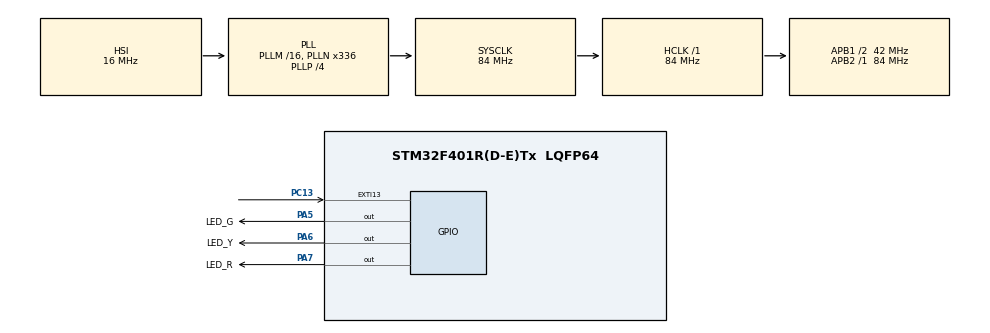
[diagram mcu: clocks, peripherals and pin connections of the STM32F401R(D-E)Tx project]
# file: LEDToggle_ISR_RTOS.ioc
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Mcu.Family=STM32F4
Mcu.Name=STM32F401R(D-E)Tx
Mcu.Package=LQFP64
NVIC.EXTI15_10_IRQn=true\:6\:0\:true\:false\:true\:true\:true\:true
NVIC.PriorityGroup=NVIC_PRIORITYGROUP_4
NVIC.TIM5_IRQn=true\:15\:0\:false\:false\:true\:false\:true\:true
NVIC.TimeBase=TIM5_IRQn
NVIC.TimeBaseIP=TIM5
PA13.GPIO_Label=TMS
PA13.Signal=SYS_JTMS-SWDIO
PA14.GPIO_Label=TCK
PA14.Signal=SYS_JTCK-SWCLK
PA2.GPIO_Label=USART_TX
PA2.GPIO_Mode=GPIO_MODE_AF_PP
PA2.GPIO_PuPd=GPIO_NOPULL
PA2.GPIO_Speed=GPIO_SPEED_FREQ_LOW
PA2.Signal=USART2_TX
PA3.GPIO_Label=USART_RX
PA3.GPIO_Mode=GPIO_MODE_AF_PP
PA3.GPIO_PuPd=GPIO_NOPULL
PA3.GPIO_Speed=GPIO_SPEED_FREQ_LOW
PA3.Signal=USART2_RX
PA5.GPIO_Label=LED_G
PA5.Signal=GPIO_Output
PA6.GPIO_Label=LED_Y
PA6.Signal=GPIO_Output
PA7.GPIO_Label=LED_R
PA7.Signal=GPIO_Output
PB3.GPIO_Label=SWO
PB3.Signal=SYS_JTDO-SWO
PC13-ANTI_TAMP.GPIO_ModeDefaultEXTI=GPIO_MODE_IT_FALLING
PC13-ANTI_TAMP.Signal=GPXTI13
PC14-OSC32_IN.Signal=RCC_OSC32_IN
PC15-OSC32_OUT.Signal=RCC_OSC32_OUT
PH0\ -\ OSC_IN.Signal=RCC_OSC_IN
PH1\ -\ OSC_OUT.Signal=RCC_OSC_OUT
ProjectManager.HeapSize=0x200
ProjectManager.StackSize=0x400
ProjectManager.TargetToolchain=STM32CubeIDE
RCC.AHBFreq_Value=84000000
RCC.APB1CLKDivider=RCC_HCLK_DIV2
RCC.APB1Freq_Value=42000000
RCC.APB1TimFreq_Value=84000000
RCC.APB2Freq_Value=84000000
RCC.APB2TimFreq_Value=84000000
RCC.CortexFreq_Value=84000000
RCC.HCLKFreq_Value=84000000
RCC.HSE_VALUE=8000000
RCC.HSI_VALUE=16000000
RCC.LSE_VALUE=32768
RCC.PLLN=336
RCC.PLLP=RCC_PLLP_DIV4
RCC.PLLQ=7
RCC.SYSCLKFreq_VALUE=84000000
RCC.SYSCLKSource=RCC_SYSCLKSOURCE_PLLCLK
RCC.VCOOutputFreq_Value=336000000
VP_SYS_VS_tim5.Mode=TIM5
board=NUCLEO-F401RE

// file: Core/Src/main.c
/* USER CODE BEGIN Header */
/**
  ******************************************************************************
  * @file           : main.c
  * @brief          : Main program body
  ******************************************************************************
  * @attention
  *
  * Copyright (c) 2024 STMicroelectronics.
  * All rights reserved.
  *
  * This software is licensed under terms that can be found in the LICENSE file
  * in the root directory of this software component.
  * If no LICENSE file comes with this software, it is provided AS-IS.
  *
  ******************************************************************************
  */
/* USER CODE END Header */
#include "main.h"

/* USER CODE BEGIN Includes */
#include "FreeRTOS.h"
#include "task.h"

/* USER CODE END Includes */

void SystemClock_Config(void);
static void MX_GPIO_Init(void);
/* USER CODE BEGIN PFP */
static void led_green_handler(void *parameters);
static void led_yellow_handler(void *parameters);
static void led_red_handler(void *parameters);
void button_interrupt_handler(void *parameters);

/* USER CODE END PFP */

/* USER CODE BEGIN 0 */
TaskHandle_t led_green_handle,led_yellow_handle,led_red_handle;
TaskHandle_t volatile next_task_handle;

/* USER CODE END 0 */

int main(void)
{
  /* USER CODE BEGIN 1 */

	next_task_handle = NULL;
	BaseType_t ret;

  /* USER CODE END 1 */

  /* MCU Configuration--------------------------------------------------------*/

  /* Reset of all peripherals, Initializes the Flash interface and the Systick. */
  HAL_Init();

  /* Configure the system clock */
  SystemClock_Config();

  /* Initialize all configured peripherals */
  MX_GPIO_Init();
  /* USER CODE BEGIN 2 */
  ret = xTaskCreate(led_green_handler,"Blink_LED_green_Task",200,NULL,3, &led_green_handle);
  configASSERT(ret==pdPASS);
  next_task_handle = led_green_handle;

  ret = xTaskCreate(led_yellow_handler,"Blink_LED_yellow_Task",200,NULL,2, &led_yellow_handle);
  configASSERT(ret==pdPASS);

  ret = xTaskCreate(led_red_handler,"Blink_LED_red_Task",200,NULL,1, &led_red_handle);
  configASSERT(ret==pdPASS);

  vTaskStartScheduler();

  /* USER CODE END 2 */

  /* Infinite loop */
  while (1)
  {

  }
}

void SystemClock_Config(void)
{
  RCC_OscInitTypeDef RCC_OscInitStruct = {0};
  RCC_ClkInitTypeDef RCC_ClkInitStruct = {0};

  /** Configure the main internal regulator output voltage
  */
  __HAL_RCC_PWR_CLK_ENABLE();
  __HAL_PWR_VOLTAGESCALING_CONFIG(PWR_REGULATOR_VOLTAGE_SCALE2);

  /** Initializes the RCC Oscillators according to the specified parameters
  * in the RCC_OscInitTypeDef structure.
  */
  RCC_OscInitStruct.OscillatorType = RCC_OSCILLATORTYPE_HSI;
  RCC_OscInitStruct.HSIState = RCC_HSI_ON;
  RCC_OscInitStruct.HSICalibrationValue = RCC_HSICALIBRATION_DEFAULT;
  RCC_OscInitStruct.PLL.PLLState = RCC_PLL_ON;
  RCC_OscInitStruct.PLL.PLLSource = RCC_PLLSOURCE_HSI;
  RCC_OscInitStruct.PLL.PLLM = 16;
  RCC_OscInitStruct.PLL.PLLN = 336;
  RCC_OscInitStruct.PLL.PLLP = RCC_PLLP_DIV4;
  RCC_OscInitStruct.PLL.PLLQ = 7;
  if (HAL_RCC_OscConfig(&RCC_OscInitStruct) != HAL_OK)
  {
    Error_Handler();
  }

  /** Initializes the CPU, AHB and APB buses clocks
  */
  RCC_ClkInitStruct.ClockType = RCC_CLOCKTYPE_HCLK|RCC_CLOCKTYPE_SYSCLK
                              |RCC_CLOCKTYPE_PCLK1|RCC_CLOCKTYPE_PCLK2;
  RCC_ClkInitStruct.SYSCLKSource = RCC_SYSCLKSOURCE_PLLCLK;
  RCC_ClkInitStruct.AHBCLKDivider = RCC_SYSCLK_DIV1;
  RCC_ClkInitStruct.APB1CLKDivider = RCC_HCLK_DIV2;
  RCC_ClkInitStruct.APB2CLKDivider = RCC_HCLK_DIV1;

  if (HAL_RCC_ClockConfig(&RCC_ClkInitStruct, FLASH_LATENCY_2) != HAL_OK)
  {
    Error_Handler();
  }
}

static void MX_GPIO_Init(void)
{
  GPIO_InitTypeDef GPIO_InitStruct = {0};

  /* GPIO Ports Clock Enable */
  __HAL_RCC_GPIOC_CLK_ENABLE();
  __HAL_RCC_GPIOH_CLK_ENABLE();
  __HAL_RCC_GPIOA_CLK_ENABLE();
  __HAL_RCC_GPIOB_CLK_ENABLE();

  /*Configure GPIO pin Output Level */
  HAL_GPIO_WritePin(GPIOA, LED_G_Pin|LED_Y_Pin|LED_R_Pin, GPIO_PIN_RESET);

  /*Configure GPIO pin : PC13 */
  GPIO_InitStruct.Pin = GPIO_PIN_13;
  GPIO_InitStruct.Mode = GPIO_MODE_IT_FALLING;
  GPIO_InitStruct.Pull = GPIO_NOPULL;
  HAL_GPIO_Init(GPIOC, &GPIO_InitStruct);

  /*Configure GPIO pins : USART_TX_Pin USART_RX_Pin */
  GPIO_InitStruct.Pin = USART_TX_Pin|USART_RX_Pin;
  GPIO_InitStruct.Mode = GPIO_MODE_AF_PP;
  GPIO_InitStruct.Pull = GPIO_NOPULL;
  GPIO_InitStruct.Speed = GPIO_SPEED_FREQ_LOW;
  GPIO_InitStruct.Alternate = GPIO_AF7_USART2;
  HAL_GPIO_Init(GPIOA, &GPIO_InitStruct);

  /*Configure GPIO pins : LED_G_Pin LED_Y_Pin LED_R_Pin */
  GPIO_InitStruct.Pin = LED_G_Pin|LED_Y_Pin|LED_R_Pin;
  GPIO_InitStruct.Mode = GPIO_MODE_OUTPUT_PP;
  GPIO_InitStruct.Pull = GPIO_NOPULL;
  GPIO_InitStruct.Speed = GPIO_SPEED_FREQ_LOW;
  HAL_GPIO_Init(GPIOA, &GPIO_InitStruct);

  /* EXTI interrupt init*/
  HAL_NVIC_SetPriority(EXTI15_10_IRQn, 6, 0);
  HAL_NVIC_EnableIRQ(EXTI15_10_IRQn);

}

/* USER CODE BEGIN 4 */
static void led_green_handler(void *parameters){
	BaseType_t notificationStatus;

	while (1){
		HAL_GPIO_TogglePin(GPIOA,LED_G_Pin);
		//HAL_Delay(1000);
		notificationStatus = xTaskNotifyWait(0,0,NULL,pdMS_TO_TICKS(1000));
		if(notificationStatus==pdPASS){
			portENTER_CRITICAL();
			next_task_handle = led_yellow_handle;
			HAL_GPIO_WritePin(GPIOA,LED_G_Pin,GPIO_PIN_SET);
			portEXIT_CRITICAL();
			vTaskDelete(NULL);
		}

	}
}

static void led_yellow_handler(void *parameters){
	BaseType_t notificationStatus;
		while (1){
			HAL_GPIO_TogglePin(GPIOA,LED_Y_Pin);
			//HAL_Delay(1000);
			notificationStatus = xTaskNotifyWait(0,0,NULL,pdMS_TO_TICKS(1000));
			if(notificationStatus==pdPASS){
				portENTER_CRITICAL();
				next_task_handle = led_red_handle;
				HAL_GPIO_WritePin(GPIOA,LED_Y_Pin,GPIO_PIN_SET);
				portEXIT_CRITICAL();
				vTaskDelete(NULL);
			}
		}
}

static void led_red_handler(void *parameters){
	BaseType_t notificationStatus;
		while (1){
			HAL_GPIO_TogglePin(GPIOA,LED_R_Pin);
			//HAL_Delay(1000);
			notificationStatus = xTaskNotifyWait(0,0,NULL,pdMS_TO_TICKS(1000));
			if(notificationStatus==pdPASS){
				portENTER_CRITICAL();
				next_task_handle = NULL;

				HAL_GPIO_WritePin(GPIOA,LED_R_Pin,GPIO_PIN_SET);
				portEXIT_CRITICAL();
				vTaskDelete(NULL);
			}
		}
}
void button_interrupt_handler(void *parameters){

	xTaskNotifyFromISR(next_task_handle,0,eNoAction,NULL);

}

/* USER CODE END 4 */

void HAL_TIM_PeriodElapsedCallback(TIM_HandleTypeDef *htim)
{
  if (htim->Instance == TIM5) {
    HAL_IncTick();
  }
}

void Error_Handler(void)
{
  __disable_irq();
  while (1)
  {
  }
}
